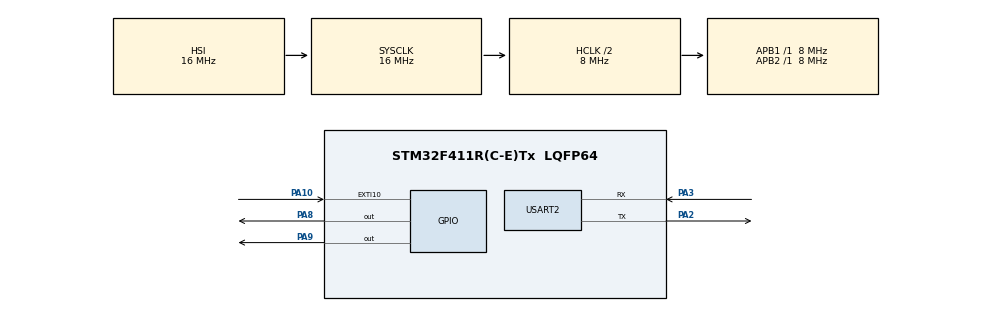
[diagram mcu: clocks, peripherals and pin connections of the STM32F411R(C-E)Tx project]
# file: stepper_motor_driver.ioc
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Mcu.Family=STM32F4
Mcu.Name=STM32F411R(C-E)Tx
Mcu.Package=LQFP64
NVIC.PriorityGroup=NVIC_PRIORITYGROUP_4
NVIC.RCC_IRQn=true\:0\:0\:false\:false\:true\:true\:false\:true
NVIC.USART2_IRQn=true\:0\:0\:false\:false\:true\:true\:true\:true
PA10.Signal=GPXTI10
PA13.Mode=Serial_Wire
PA13.Signal=SYS_JTMS-SWDIO
PA14.Mode=Serial_Wire
PA14.Signal=SYS_JTCK-SWCLK
PA2.Mode=Asynchronous
PA2.Signal=USART2_TX
PA3.Mode=Asynchronous
PA3.Signal=USART2_RX
PA8.Signal=GPIO_Output
PA9.Signal=GPIO_Output
ProjectManager.HeapSize=0x200
ProjectManager.StackSize=0x400
ProjectManager.TargetToolchain=STM32CubeIDE
RCC.AHBCLKDivider=RCC_SYSCLK_DIV2
RCC.AHBFreq_Value=8000000
RCC.APB1Freq_Value=8000000
RCC.APB1TimFreq_Value=8000000
RCC.APB2Freq_Value=8000000
RCC.APB2TimFreq_Value=8000000
RCC.CortexFreq_Value=8000000
RCC.HCLKFreq_Value=8000000
RCC.HSE_VALUE=25000000
RCC.HSI_VALUE=16000000
RCC.LSE_VALUE=32768
RCC.SYSCLKFreq_VALUE=16000000
RCC.VCOOutputFreq_Value=192000000
USART2.VirtualMode=VM_ASYNC
board=custom

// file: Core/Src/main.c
/* USER CODE BEGIN Header */
/**
  ******************************************************************************
  * @file           : main.c
  * @brief          : Main program body
  ******************************************************************************
  * @attention
  *
  * Copyright (c) 2023 STMicroelectronics.
  * All rights reserved.
  *
  * This software is licensed under terms that can be found in the LICENSE file
  * in the root directory of this software component.
  * If no LICENSE file comes with this software, it is provided AS-IS.
  *
  ******************************************************************************
  */
/* USER CODE END Header */
#include "main.h"

/* USER CODE BEGIN Includes */
#include <stdlib.h>
#include <string.h>
#include <stdio.h>
#include <ctype.h>
#include <stdbool.h>
/* USER CODE END Includes */

/* USER CODE BEGIN PD */
#define STEPS_PER_LITER 7440//rotations per liter
/*
 * 200 microsteps per a full motor rotation (360 degrees)
 * water meter 1,6m3 - x microsteps/l
 * water meter 2,5m3 - 7440 microsteps/l
 * water meter 4m3 - y microsteps/l
 */
#define ENA 1//  1 - ENA+; 0 - ENA-
#define LINE_MAX_LENGTH	20
#define PULSE_PORT	GPIOA
#define PULSE_PIN	GPIO_PIN_9
#define DIR_PORT	GPIOA
#define DIR_PIN		GPIO_PIN_8
#define ENA_PORT	GPIOA
#define ENA_PIN		GPIO_PIN_2
#define FORWARD 	0
#define BACKWARD 	1
#define SIZE_OF_VARIABLE 10
#define MAX_TOKENS 5
/* USER CODE END PD */

UART_HandleTypeDef huart2;

/* USER CODE BEGIN PV */
const uint8_t duty_cycle = 0x32;
uint8_t value;
enum STATE_OF_PROGRAM{
	START,
	STOP
}state;

typedef struct{
	uint8_t UART_data;
	uint8_t data_counter;
	int counter;
}communication_para;

typedef struct{
	int pulses;
	int period;
	int direction;
	int nominator;
	int denominator;
	int when_change;
}variable_to_set_driver;

typedef struct{
	int command_was_sent;
	int if_variable_is_digital;
	int equal_zero;
	int too_long_argument;
}flags;

communication_para STM_DRIVER;
variable_to_set_driver VAR_TO_SET_DRIVER;
flags driver_flag;
static char UART_buf[LINE_MAX_LENGTH];
char* tokens[MAX_TOKENS];
static uint32_t line_length;
/* USER CODE END PV */

void SystemClock_Config(void);
static void MX_GPIO_Init(void);
static void MX_USART2_UART_Init(void);
/* USER CODE BEGIN PFP */
void SystemClock_Config(void);
static void MX_GPIO_Init(void);
static void MX_USART2_UART_Init(void);
void GET_DATA(uint8_t var);
void CHECK_DATA(void);
void CHECK_LENGHT(void);
void CLEAR_BUFF(void);
void CLEAR_TOKEN(void);
void WRITE_DATA(void);
void RUN(void);
void START_PULSES(void);
void SET_DIRECTION(void);
void CHANGE_DIRECTION(void);
uint32_t ASCII_TO_uint8_t(const char *table);
void splitString(const char* input_string, char** tokens);
void motor_run(void);
int count_steps(void);

/* USER CODE END PFP */

/* USER CODE BEGIN 0 */
int __io_putchar(int ch){
    HAL_UART_Transmit(&huart2, (uint8_t*)&ch, 1, 0);\
    return 1;
}

void HAL_UART_RxCpltCallback(UART_HandleTypeDef *huart){
  if (huart == &huart2) {
	GET_DATA(value);
	HAL_UART_Receive_IT(&huart2, &value, 1);
	//HAL_UART_Transmit(&huart2, &value, 1, 0);
 }
}
/* USER CODE END 0 */

int main(void)
{
  /* USER CODE BEGIN 1 */
	STM_DRIVER.UART_data= 0x00;
	STM_DRIVER.data_counter = 0x00;
  /* USER CODE END 1 */

  /* MCU Configuration--------------------------------------------------------*/

  /* Reset of all peripherals, Initializes the Flash interface and the Systick. */
  HAL_Init();

  /* Configure the system clock */
  SystemClock_Config();

  /* Initialize all configured peripherals */
  MX_GPIO_Init();
  MX_USART2_UART_Init();
  /* USER CODE BEGIN 2 */
  HAL_Delay(100);
  if (ENA == 1){
  	  HAL_GPIO_WritePin(ENA_PORT, ENA_PIN, GPIO_PIN_SET);
    }
    else if (ENA == 0){
  	  HAL_GPIO_WritePin(ENA_PORT, ENA_PIN, GPIO_PIN_RESET);
    }

  /* USER CODE END 2 */

  /* Infinite loop */
  /* USER CODE BEGIN WHILE */
  while (1){
	  HAL_UART_Receive_IT(&huart2, &value, 1);
	  if(driver_flag.command_was_sent==1){
		RUN();
	  }
  }
    /* USER CODE END WHILE */

}

void SystemClock_Config(void)
{
  RCC_OscInitTypeDef RCC_OscInitStruct = {0};
  RCC_ClkInitTypeDef RCC_ClkInitStruct = {0};

  /** Configure the main internal regulator output voltage
  */
  __HAL_RCC_PWR_CLK_ENABLE();
  __HAL_PWR_VOLTAGESCALING_CONFIG(PWR_REGULATOR_VOLTAGE_SCALE1);

  /** Initializes the RCC Oscillators according to the specified parameters
  * in the RCC_OscInitTypeDef structure.
  */
  RCC_OscInitStruct.OscillatorType = RCC_OSCILLATORTYPE_HSI;
  RCC_OscInitStruct.HSIState = RCC_HSI_ON;
  RCC_OscInitStruct.HSICalibrationValue = RCC_HSICALIBRATION_DEFAULT;
  RCC_OscInitStruct.PLL.PLLState = RCC_PLL_NONE;
  if (HAL_RCC_OscConfig(&RCC_OscInitStruct) != HAL_OK)
  {
    Error_Handler();
  }

  /** Initializes the CPU, AHB and APB buses clocks
  */
  RCC_ClkInitStruct.ClockType = RCC_CLOCKTYPE_HCLK|RCC_CLOCKTYPE_SYSCLK
                              |RCC_CLOCKTYPE_PCLK1|RCC_CLOCKTYPE_PCLK2;
  RCC_ClkInitStruct.SYSCLKSource = RCC_SYSCLKSOURCE_HSI;
  RCC_ClkInitStruct.AHBCLKDivider = RCC_SYSCLK_DIV2;
  RCC_ClkInitStruct.APB1CLKDivider = RCC_HCLK_DIV1;
  RCC_ClkInitStruct.APB2CLKDivider = RCC_HCLK_DIV1;

  if (HAL_RCC_ClockConfig(&RCC_ClkInitStruct, FLASH_LATENCY_0) != HAL_OK)
  {
    Error_Handler();
  }
}

static void MX_USART2_UART_Init(void)
{

  huart2.Instance = USART2;
  huart2.Init.BaudRate = 115200;
  huart2.Init.WordLength = UART_WORDLENGTH_8B;
  huart2.Init.StopBits = UART_STOPBITS_1;
  huart2.Init.Parity = UART_PARITY_NONE;
  huart2.Init.Mode = UART_MODE_TX_RX;
  huart2.Init.HwFlowCtl = UART_HWCONTROL_NONE;
  huart2.Init.OverSampling = UART_OVERSAMPLING_16;
  if (HAL_UART_Init(&huart2) != HAL_OK)
  {
    Error_Handler();
  }

}

static void MX_GPIO_Init(void)
{
  GPIO_InitTypeDef GPIO_InitStruct = {0};

  /* GPIO Ports Clock Enable */
  __HAL_RCC_GPIOA_CLK_ENABLE();

  /*Configure GPIO pin Output Level */
  HAL_GPIO_WritePin(GPIOA, GPIO_PIN_8|GPIO_PIN_9, GPIO_PIN_RESET);

  /*Configure GPIO pins : PA8 PA9 */
  GPIO_InitStruct.Pin = GPIO_PIN_8|GPIO_PIN_9;
  GPIO_InitStruct.Mode = GPIO_MODE_OUTPUT_PP;
  GPIO_InitStruct.Pull = GPIO_NOPULL;
  GPIO_InitStruct.Speed = GPIO_SPEED_FREQ_LOW;
  HAL_GPIO_Init(GPIOA, &GPIO_InitStruct);

  /*Configure GPIO pin : PA10 */
  GPIO_InitStruct.Pin = GPIO_PIN_10;
  GPIO_InitStruct.Mode = GPIO_MODE_IT_RISING;
  GPIO_InitStruct.Pull = GPIO_NOPULL;
  HAL_GPIO_Init(GPIOA, &GPIO_InitStruct);

}

/* USER CODE BEGIN 4 */

void GET_DATA(uint8_t var){
	if (value == '\r' || value == '\n') {
			driver_flag.command_was_sent=1;
	}
	else if (value == '\177') {
			if (line_length > 0) {
			line_length--;
			printf("\177 \177");
		   }
		}
	else {
		if (line_length >= LINE_MAX_LENGTH) {
			line_length = 0;
		}
		UART_buf[line_length++] = value;
		state=STOP;
	}
}

void RUN(void){
	driver_flag.command_was_sent=0;
	WRITE_DATA();
	if(driver_flag.if_variable_is_digital==1 && driver_flag.equal_zero==0 && driver_flag.too_long_argument==0){
		motor_run();
		HAL_Delay(10);
	}
	else{
		printf("\r\nerror with arguments");
	}
	printf("\n");
}

void motor_run(void){
	SET_DIRECTION();
	START_PULSES();
}

void SET_DIRECTION(void){

	if (VAR_TO_SET_DRIVER.direction == FORWARD){
	  HAL_GPIO_WritePin(DIR_PORT, DIR_PIN, GPIO_PIN_RESET);
	}
	else if (VAR_TO_SET_DRIVER.direction == BACKWARD){
	  HAL_GPIO_WritePin(DIR_PORT, DIR_PIN, GPIO_PIN_SET);
	}
}

void CHANGE_DIRECTION(void){
	if(VAR_TO_SET_DRIVER.direction == FORWARD){
		VAR_TO_SET_DRIVER.direction = BACKWARD;
	}
	else{
		VAR_TO_SET_DRIVER.direction = FORWARD;
	}
	SET_DIRECTION();
}

void START_PULSES(void){
	int i=0,j=1,k=1;
	state=START;
	while(j==1){
		switch(state){
		case START:
			HAL_GPIO_WritePin(PULSE_PORT, PULSE_PIN, GPIO_PIN_SET);
			HAL_Delay(VAR_TO_SET_DRIVER.period*duty_cycle/100);
			HAL_GPIO_WritePin(PULSE_PORT, PULSE_PIN, GPIO_PIN_RESET);
			HAL_Delay(VAR_TO_SET_DRIVER.period*(100-duty_cycle)/100);
			i++;
			if(i>VAR_TO_SET_DRIVER.pulses){
				state=STOP;
			}
			else if(i>VAR_TO_SET_DRIVER.when_change*k/100 && VAR_TO_SET_DRIVER.when_change!=0){
				k++;
				CHANGE_DIRECTION();
			}
			break;
		case STOP:
			j=0;
			i=0;
			k=0;
			printf("2");
			break;
			}
		}
}

void WRITE_DATA(void){
	splitString(UART_buf,tokens);
	VAR_TO_SET_DRIVER.period = ASCII_TO_uint8_t(tokens[0]);
	VAR_TO_SET_DRIVER.direction = ASCII_TO_uint8_t(tokens[1]);
	VAR_TO_SET_DRIVER.nominator = ASCII_TO_uint8_t(tokens[2]);
	VAR_TO_SET_DRIVER.denominator = ASCII_TO_uint8_t(tokens[3]);
	VAR_TO_SET_DRIVER.when_change = ASCII_TO_uint8_t(tokens[4]);
	CHECK_DATA();
	CHECK_LENGHT();
	CLEAR_BUFF();
	CLEAR_TOKEN();
}

void CHECK_DATA(void){
	for(int i=1;i<MAX_TOKENS;i++){
		driver_flag.if_variable_is_digital=1;
		for(int j=0;j<strlen(tokens[i]);j++){
			if(!isdigit((unsigned char)tokens[i][j])){
				driver_flag.if_variable_is_digital=0;
			}
		}
		if(driver_flag.if_variable_is_digital==0){
			break;
		}
	}
	if(VAR_TO_SET_DRIVER.period == 0 || VAR_TO_SET_DRIVER.nominator == 0 || VAR_TO_SET_DRIVER.denominator == 0){
	  driver_flag.equal_zero=1;
	}
	else{
		driver_flag.equal_zero=0;
		VAR_TO_SET_DRIVER.pulses = count_steps();
	}

}

int count_steps(void){
	uint32_t microsteps = 0x00;
	microsteps = STEPS_PER_LITER*VAR_TO_SET_DRIVER.nominator/VAR_TO_SET_DRIVER.denominator;
	return microsteps;
}

void CHECK_LENGHT(void){
	if(VAR_TO_SET_DRIVER.period>9999 || VAR_TO_SET_DRIVER.direction>1 || VAR_TO_SET_DRIVER.nominator>9999 || VAR_TO_SET_DRIVER.denominator>9999){
		driver_flag.too_long_argument=1;
	}
	else{
		driver_flag.too_long_argument=0;
	}
}

void CLEAR_BUFF(void){
	for(int i = 0;i<LINE_MAX_LENGTH;i++){
		UART_buf[i]='\0';
		}
	line_length=0;
}

void CLEAR_TOKEN(void){
	for (int i = 0; i < sizeof(tokens) / sizeof(tokens[0]); i++) {
		tokens[i]=NULL;
	}
}

uint32_t ASCII_TO_uint8_t(const char *table){
	uint32_t result = 0;
	uint32_t numeric_value=0;
    int size = SIZE_OF_VARIABLE;
    for (int i = 0; i < size; i++) {
    	if(table[i]==' ' || table[i]=='\0'){
    		break;
    	}
    	else{
        	numeric_value = table[i] - '0';
            result = result * 10 + numeric_value;
    	}
    }
    return result;
}

void splitString(const char* input_string, char** tokens) {
	const char delimiters[] = " \r\n";
    char* copy_of_input = strdup(input_string);
    char* token = strtok(copy_of_input, delimiters);

    int token_count = 0;
    while (token != NULL && token_count < MAX_TOKENS) {
        tokens[token_count] = strdup(token);
        token = strtok(NULL, delimiters);
        token_count++;
    }
    free(copy_of_input);
}
/* USER CODE END 4 */

void Error_Handler(void)
{
  __disable_irq();
  while (1)
  {
  }
}
